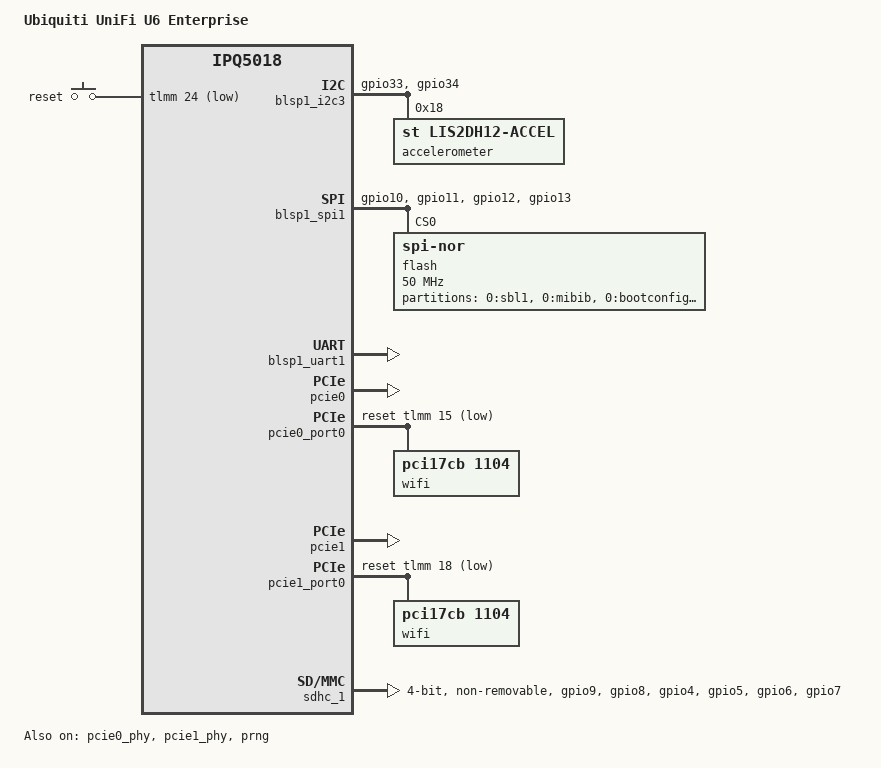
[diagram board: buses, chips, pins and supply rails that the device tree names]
// SPDX-License-Identifier: GPL-2.0-or-later OR MIT

/dts-v1/;

#include <dt-bindings/gpio/gpio.h>
#include <dt-bindings/input/input.h>

#include "ipq5018.dtsi"

/ {
	model = "Ubiquiti UniFi U6 Enterprise";
	compatible = "ubnt,u6-enterprise", "qcom,ipq5018";

	aliases {
		serial0 = &blsp1_uart1;
	};

	chosen {
		stdout-path = "serial0:115200n8";
	};

	keys {
		compatible = "gpio-keys";
		pinctrl-0 = <&button_pins>;
		pinctrl-names = "default";

		button-reset {
			label = "reset";
			gpios = <&tlmm 24 GPIO_ACTIVE_LOW>;
			linux,code = <KEY_RESTART>;
		};
	};
};

&blsp1_i2c3 {
	pinctrl-0 = <&i2c_pins>;
	pinctrl-names = "default";
	status = "okay";

	accelerometer@18 {
		compatible = "st,lis2dh12-accel";
		reg = <0x18>;
	};
};

&blsp1_spi1 {
	pinctrl-0 = <&spi_0_pins>;
	pinctrl-names = "default";
	status = "okay";

	flash@0 {
		compatible = "jedec,spi-nor";
		reg = <0>;
		spi-max-frequency = <50000000>;

		partitions {
			compatible = "fixed-partitions";
			#address-cells = <1>;
			#size-cells = <1>;

			partition@0 {
				label = "0:sbl1";
				reg = <0x000000 0x030000>;
				read-only;
			};

			partition@30000 {
				label = "0:mibib";
				reg = <0x030000 0x010000>;
				read-only;
			};

			partition@40000 {
				label = "0:bootconfig";
				reg = <0x040000 0x010000>;
				read-only;
			};

			partition@50000 {
				label = "0:qsee";
				reg = <0x050000 0x0a0000>;
				read-only;
			};

			partition@f0000 {
				label = "0:devcfg";
				reg = <0x0f0000 0x010000>;
				read-only;
			};

			partition@100000 {
				label = "0:cdt";
				reg = <0x100000 0x010000>;
				read-only;
			};

			partition@110000 {
				label = "0:appsblenv";
				reg = <0x110000 0x010000>;
			};

			partition@120000 {
				label = "0:appsbl";
				reg = <0x120000 0x0a0000>;
				read-only;
			};

			partition@1c0000 {
				label = "0:art";
				reg = <0x1c0000 0x070000>;
				read-only;
			};

			partition@230000 {
				label = "eeprom";
				reg = <0x230000 0x010000>;
				read-only;
			};
		};
	};
};

/* The bootloader muxes the console pins; GPIO33/34 are I2C on this board. */
&blsp1_uart1 {
	status = "okay";
};

&pcie0 {
	status = "okay";
};

&pcie0_phy {
	status = "okay";
};

&pcie0_port0 {
	reset-gpios = <&tlmm 15 GPIO_ACTIVE_LOW>;

	wifi@0,0 {
		compatible = "pci17cb,1104";
		reg = <0x10000 0x0 0x0 0x0 0x0>;
		qcom,calibration-variant = "Ubiquiti-U6-Enterprise-5G";
	};
};

&pcie1 {
	status = "okay";
};

&pcie1_phy {
	status = "okay";
};

&pcie1_port0 {
	reset-gpios = <&tlmm 18 GPIO_ACTIVE_LOW>;

	wifi@0,0 {
		compatible = "pci17cb,1104";
		reg = <0x10000 0x0 0x0 0x0 0x0>;
		qcom,calibration-variant = "Ubiquiti-U6-Enterprise-6G";
	};
};

&prng {
	status = "okay";
};

&sdhc_1 {
	pinctrl-0 = <&emmc_pins>;
	pinctrl-names = "default";
	bus-width = <4>;
	non-removable;
	no-sd;
	no-sdio;
	status = "okay";
};

&sleep_clk {
	clock-frequency = <32000>;
};

&tlmm {
	button_pins: button-state {
		pins = "gpio24";
		function = "gpio";
		drive-strength = <8>;
		bias-pull-up;
	};

	emmc_pins: emmc-state {
		clk-pins {
			pins = "gpio9";
			function = "sdc1_clk";
			drive-strength = <8>;
			bias-disable;
		};

		cmd-pins {
			pins = "gpio8";
			function = "sdc1_cmd";
			drive-strength = <8>;
			bias-pull-up;
		};

		data-pins {
			pins = "gpio4", "gpio5", "gpio6", "gpio7";
			function = "sdc1_data";
			drive-strength = <8>;
			bias-disable;
		};
	};

	i2c_pins: i2c-state {
		pins = "gpio33", "gpio34";
		function = "blsp2_i2c0";
		drive-strength = <8>;
		bias-disable;
	};

	spi_0_pins: spi-0-state {
		pins = "gpio10", "gpio11", "gpio12", "gpio13";
		function = "blsp0_spi";
		drive-strength = <8>;
		bias-disable;
	};
};

/* The vendor QSEE uses 4 MiB, twice the SoC default. */
&tz_region {
	reg = <0x0 0x4ac00000 0x0 0x400000>;
};

&xo_board_clk {
	clock-div = <4>;
	clock-mult = <1>;
};
